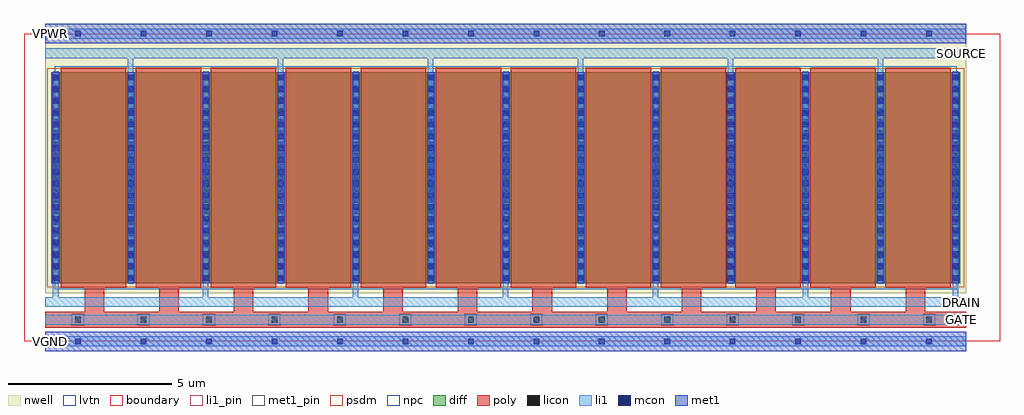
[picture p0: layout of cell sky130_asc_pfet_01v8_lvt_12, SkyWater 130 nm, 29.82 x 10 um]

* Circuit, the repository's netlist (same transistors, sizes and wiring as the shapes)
* NGSPICE file created from sky130_asc_pfet_01v8_lvt_12.ext - technology: sky130A

.subckt sky130_asc_pfet_01v8_lvt_12 GATE SOURCE DRAIN VGND VPWR
X0 SOURCE GATE DRAIN VPWR sky130_fd_pr__pfet_01v8_lvt ad=1.1223e+13p pd=8.088e+07u as=1.30935e+13p ps=9.436e+07u w=6.45e+06u l=2e+06u
X1 SOURCE GATE DRAIN VPWR sky130_fd_pr__pfet_01v8_lvt ad=0p pd=0u as=0p ps=0u w=6.45e+06u l=2e+06u
X2 DRAIN GATE SOURCE VPWR sky130_fd_pr__pfet_01v8_lvt ad=0p pd=0u as=0p ps=0u w=6.45e+06u l=2e+06u
X3 DRAIN GATE SOURCE VPWR sky130_fd_pr__pfet_01v8_lvt ad=0p pd=0u as=0p ps=0u w=6.45e+06u l=2e+06u
X4 SOURCE GATE DRAIN VPWR sky130_fd_pr__pfet_01v8_lvt ad=0p pd=0u as=0p ps=0u w=6.45e+06u l=2e+06u
X5 DRAIN GATE SOURCE VPWR sky130_fd_pr__pfet_01v8_lvt ad=0p pd=0u as=0p ps=0u w=6.45e+06u l=2e+06u
X6 DRAIN GATE SOURCE VPWR sky130_fd_pr__pfet_01v8_lvt ad=0p pd=0u as=0p ps=0u w=6.45e+06u l=2e+06u
X7 SOURCE GATE DRAIN VPWR sky130_fd_pr__pfet_01v8_lvt ad=0p pd=0u as=0p ps=0u w=6.45e+06u l=2e+06u
X8 SOURCE GATE DRAIN VPWR sky130_fd_pr__pfet_01v8_lvt ad=0p pd=0u as=0p ps=0u w=6.45e+06u l=2e+06u
X9 DRAIN GATE SOURCE VPWR sky130_fd_pr__pfet_01v8_lvt ad=0p pd=0u as=0p ps=0u w=6.45e+06u l=2e+06u
X10 DRAIN GATE SOURCE VPWR sky130_fd_pr__pfet_01v8_lvt ad=0p pd=0u as=0p ps=0u w=6.45e+06u l=2e+06u
X11 SOURCE GATE DRAIN VPWR sky130_fd_pr__pfet_01v8_lvt ad=0p pd=0u as=0p ps=0u w=6.45e+06u l=2e+06u
.ends

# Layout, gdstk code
import gdstk
lib = gdstk.Library(unit=1e-6, precision=1e-09)
def R(c, l, rs):  # rectangles x0, y0, x1, y1
    for r in rs: c.add(gdstk.rectangle(r[:2], r[2:], *l))
def A(c, l, x, y, w, h, nx, ny, dx, dy):  # array of equal rectangles
    R(c, l, [(x+i*dx, y+j*dy, x+i*dx+w, y+j*dy+h) for i in range(nx) for j in range(ny)])
nwell = (64, 20)
diff = (65, 20)
poly = (66, 20)
licon = (66, 44)
li1_pin = (67, 16)
li1 = (67, 20)
mcon = (67, 44)
met1_pin = (68, 16)
met1 = (68, 20)
psdm = (94, 20)
npc = (95, 20)
lvtn = (125, 44)
boundary = (235, 4)

sky130_asc_pfet_01v8_lvt = lib.new_cell('sky130_asc_pfet_01v8_lvt_12')
R(sky130_asc_pfet_01v8_lvt, nwell, [(0.655,1.465,28.785,5), (0.65,5,28.785,8.535), (0.65,8.535,28.78,9.7)])
R(sky130_asc_pfet_01v8_lvt, diff, [(0.835,1.775,28.605,8.225)])
A(sky130_asc_pfet_01v8_lvt, poly, 1.85, 0.91, 0.6, 0.735, 12, 1, 2.28, 0)
A(sky130_asc_pfet_01v8_lvt, poly, 1.125, 1.645, 2, 6.71, 12, 1, 2.29, 0)
R(sky130_asc_pfet_01v8_lvt, poly, [(0.65,0.41,28.78,0.91)])
A(sky130_asc_pfet_01v8_lvt, licon, 1.565, 0.575, 0.17, 0.17, 14, 1, 2, 0)
A(sky130_asc_pfet_01v8_lvt, licon, 0.895, 1.855, 0.17, 0.17, 13, 19, 2.29, 0.34)
R(sky130_asc_pfet_01v8_lvt, li1_pin, [(28.48,0.51,28.78,0.81), (28.48,1.05,28.78,1.35), (28.48,8.65,28.78,8.95)])
A(sky130_asc_pfet_01v8_lvt, li1, 0.885, 1.35, 0.17, 0.405, 7, 1, 4.58, 0)
A(sky130_asc_pfet_01v8_lvt, li1, 0.885, 1.755, 0.18, 0.105, 7, 1, 4.58, 0)
A(sky130_asc_pfet_01v8_lvt, li1, 3.185, 1.755, 0.17, 6.375, 6, 1, 4.58, 0)
A(sky130_asc_pfet_01v8_lvt, li1, 0.895, 1.86, 0.17, 6.385, 7, 1, 4.58, 0)
A(sky130_asc_pfet_01v8_lvt, li1, 3.175, 8.13, 0.18, 0.115, 6, 1, 4.58, 0)
A(sky130_asc_pfet_01v8_lvt, li1, 3.175, 8.245, 0.17, 0.405, 6, 1, 4.58, 0)
R(sky130_asc_pfet_01v8_lvt, li1, [(0.65,-0.15,28.78,0.15), (0.65,0.51,28.78,0.81), (0.65,1.05,28.78,1.35), (0.65,8.65,28.78,8.95), (0.65,9.25,28.78,9.55)])
A(sky130_asc_pfet_01v8_lvt, mcon, 1.565, -0.085, 0.17, 0.17, 14, 2, 2, 9.4)
A(sky130_asc_pfet_01v8_lvt, mcon, 0.895, 1.855, 0.17, 0.17, 13, 18, 2.29, 0.36)
R(sky130_asc_pfet_01v8_lvt, met1_pin, [(0.65,-0.15,0.95,0.15), (0.65,9.25,0.95,9.55)])
A(sky130_asc_pfet_01v8_lvt, met1, 0.865, 1.775, 0.23, 6.45, 13, 1, 2.29, 0)
R(sky130_asc_pfet_01v8_lvt, met1, [(0.65,-0.3,28.78,0.3), (0.65,9.1,28.78,9.7)])
R(sky130_asc_pfet_01v8_lvt, psdm, [(0.71,1.65,28.73,8.35)])
A(sky130_asc_pfet_01v8_lvt, npc, 1.465, 0.475, 0.37, 0.37, 14, 1, 2, 0)
R(sky130_asc_pfet_01v8_lvt, lvtn, [(0.945,1.595,28.495,8.405)])
R(sky130_asc_pfet_01v8_lvt, boundary, [(0,0,29.815,9.4)])
sky130_asc_pfet_01v8_lvt.add(gdstk.Label('GATE', (28.63,0.66), layer=67, texttype=16))
sky130_asc_pfet_01v8_lvt.add(gdstk.Label('SOURCE', (28.63,8.8), layer=67, texttype=16))
sky130_asc_pfet_01v8_lvt.add(gdstk.Label('DRAIN', (28.63,1.2), layer=67, texttype=16))
sky130_asc_pfet_01v8_lvt.add(gdstk.Label('VPWR', (0.8,9.4), layer=68, texttype=16))
sky130_asc_pfet_01v8_lvt.add(gdstk.Label('VGND', (0.8,0), layer=68, texttype=16))

lib.write_gds('sky130_asc_pfet_01v8_lvt_12.gds')
